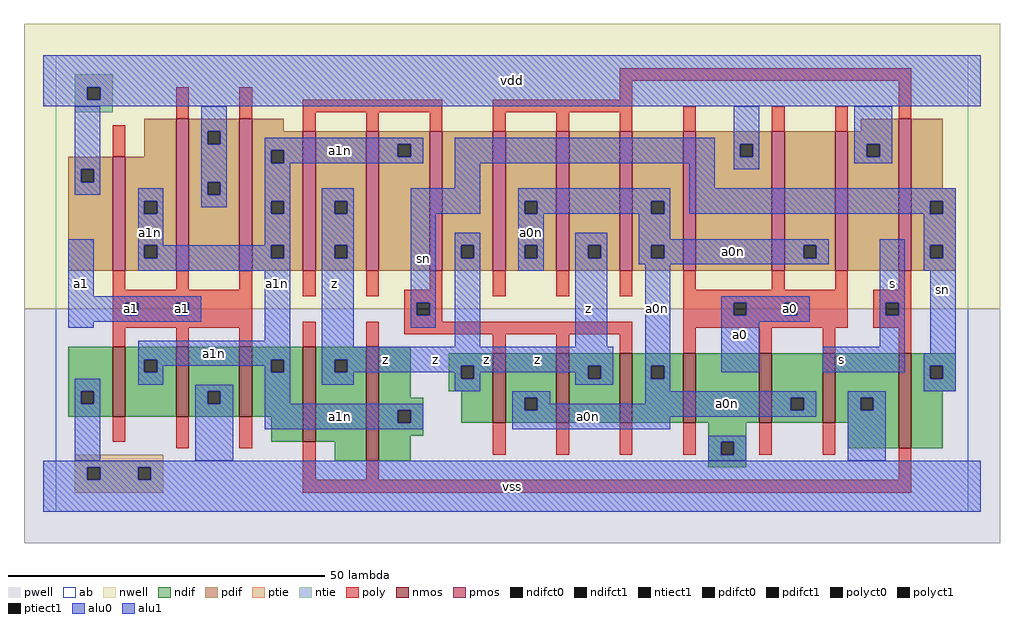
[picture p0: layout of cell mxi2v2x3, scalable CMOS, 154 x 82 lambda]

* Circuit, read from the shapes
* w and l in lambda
.subckt mxi2v2x3 a0 a0n a1 a1n s sn vdd vss z
M1 a1n a1 vss vss nfet w=11 l=2 m=3
M2 z s a1n vss nfet w=15 l=2
M3 a1n s z vss nfet w=18 l=2
M4 a0n sn z vss nfet w=11 l=2 m=3
M5 vss a0 a0n vss nfet w=11 l=2 m=3
M6 sn s vss vss nfet w=15 l=2
M7 a1n a1 vdd vdd pfet w=18 l=2
M8 vdd a1 a1n vdd pfet w=24 l=2 m=2
M9 z sn a1n vdd pfet w=22 l=2 m=3
M10 a0n s z vdd pfet w=22 l=2 m=3
M11 vdd a0 a0n vdd pfet w=22 l=2 m=3
M12 sn s vdd vdd pfet w=24 l=2
.ends

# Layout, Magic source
magic
tech scmos
<< ab >>
rect 0 0 144 72
<< nwell >>
rect -5 32 149 77
<< pwell >>
rect -5 -5 149 32
<< poly >>
rect 89 68 135 70
rect 19 62 21 67
rect 29 62 31 67
rect 89 65 91 68
rect 39 63 61 65
rect 9 56 11 61
rect 39 60 41 63
rect 49 60 51 63
rect 59 60 61 63
rect 69 63 91 65
rect 69 60 71 63
rect 79 60 81 63
rect 89 60 91 63
rect 99 60 101 64
rect 113 60 115 64
rect 123 60 125 64
rect 133 62 135 68
rect 9 35 11 38
rect 19 35 21 38
rect 29 35 31 38
rect 9 33 31 35
rect 39 34 41 38
rect 49 34 51 38
rect 59 35 61 38
rect 9 31 11 33
rect 13 31 19 33
rect 21 31 31 33
rect 9 29 31 31
rect 55 33 61 35
rect 69 34 71 38
rect 79 34 81 38
rect 89 34 91 38
rect 99 35 101 38
rect 113 35 115 38
rect 123 35 125 38
rect 133 35 135 38
rect 55 31 57 33
rect 59 31 61 33
rect 55 30 61 31
rect 99 33 125 35
rect 99 31 107 33
rect 109 31 115 33
rect 117 31 125 33
rect 9 26 11 29
rect 19 26 21 29
rect 29 26 31 29
rect 39 26 41 30
rect 49 26 51 30
rect 55 28 91 30
rect 9 11 11 15
rect 19 10 21 15
rect 29 10 31 15
rect 39 5 41 11
rect 69 25 71 28
rect 79 25 81 28
rect 89 25 91 28
rect 99 29 125 31
rect 129 33 135 35
rect 129 31 131 33
rect 133 31 135 33
rect 129 29 135 31
rect 99 25 101 29
rect 111 25 113 29
rect 121 25 123 29
rect 133 25 135 29
rect 69 9 71 14
rect 79 9 81 14
rect 89 9 91 14
rect 99 9 101 14
rect 111 9 113 14
rect 121 9 123 14
rect 49 5 51 8
rect 133 5 135 10
rect 39 3 135 5
<< ndif >>
rect 2 19 9 26
rect 2 17 4 19
rect 6 17 9 19
rect 2 15 9 17
rect 11 24 19 26
rect 11 22 14 24
rect 16 22 19 24
rect 11 15 19 22
rect 21 19 29 26
rect 21 17 24 19
rect 26 17 29 19
rect 21 15 29 17
rect 31 24 39 26
rect 31 22 34 24
rect 36 22 39 24
rect 31 15 39 22
rect 34 11 39 15
rect 41 24 49 26
rect 41 22 44 24
rect 46 22 49 24
rect 41 11 49 22
rect 44 8 49 11
rect 51 18 56 26
rect 62 23 69 25
rect 62 21 64 23
rect 66 21 69 23
rect 62 19 69 21
rect 51 16 58 18
rect 51 14 54 16
rect 56 14 58 16
rect 64 14 69 19
rect 71 18 79 25
rect 71 16 74 18
rect 76 16 79 18
rect 71 14 79 16
rect 81 23 89 25
rect 81 21 84 23
rect 86 21 89 23
rect 81 14 89 21
rect 91 23 99 25
rect 91 21 94 23
rect 96 21 99 23
rect 91 14 99 21
rect 101 14 111 25
rect 113 18 121 25
rect 113 16 116 18
rect 118 16 121 18
rect 113 14 121 16
rect 123 18 133 25
rect 123 16 127 18
rect 129 16 133 18
rect 123 14 133 16
rect 51 12 58 14
rect 51 8 56 12
rect 103 11 109 14
rect 103 9 105 11
rect 107 9 109 11
rect 125 10 133 14
rect 135 23 142 25
rect 135 21 138 23
rect 140 21 142 23
rect 135 19 142 21
rect 135 10 140 19
rect 103 7 109 9
<< pdif >>
rect 14 56 19 62
rect 2 54 9 56
rect 2 52 4 54
rect 6 52 9 54
rect 2 38 9 52
rect 11 49 19 56
rect 11 47 14 49
rect 16 47 19 49
rect 11 42 19 47
rect 11 40 14 42
rect 16 40 19 42
rect 11 38 19 40
rect 21 60 29 62
rect 21 58 24 60
rect 26 58 29 60
rect 21 52 29 58
rect 21 50 24 52
rect 26 50 29 52
rect 21 38 29 50
rect 31 60 36 62
rect 127 60 133 62
rect 31 57 39 60
rect 31 55 34 57
rect 36 55 39 57
rect 31 49 39 55
rect 31 47 34 49
rect 36 47 39 49
rect 31 42 39 47
rect 31 40 34 42
rect 36 40 39 42
rect 31 38 39 40
rect 41 49 49 60
rect 41 47 44 49
rect 46 47 49 49
rect 41 42 49 47
rect 41 40 44 42
rect 46 40 49 42
rect 41 38 49 40
rect 51 58 59 60
rect 51 56 54 58
rect 56 56 59 58
rect 51 38 59 56
rect 61 42 69 60
rect 61 40 64 42
rect 66 40 69 42
rect 61 38 69 40
rect 71 49 79 60
rect 71 47 74 49
rect 76 47 79 49
rect 71 42 79 47
rect 71 40 74 42
rect 76 40 79 42
rect 71 38 79 40
rect 81 42 89 60
rect 81 40 84 42
rect 86 40 89 42
rect 81 38 89 40
rect 91 49 99 60
rect 91 47 94 49
rect 96 47 99 49
rect 91 42 99 47
rect 91 40 94 42
rect 96 40 99 42
rect 91 38 99 40
rect 101 58 113 60
rect 101 56 108 58
rect 110 56 113 58
rect 101 38 113 56
rect 115 42 123 60
rect 115 40 118 42
rect 120 40 123 42
rect 115 38 123 40
rect 125 58 133 60
rect 125 56 128 58
rect 130 56 133 58
rect 125 38 133 56
rect 135 51 140 62
rect 135 49 142 51
rect 135 47 138 49
rect 140 47 142 49
rect 135 42 142 47
rect 135 40 138 42
rect 140 40 142 42
rect 135 38 142 40
<< alu1 >>
rect -2 67 146 72
rect -2 65 5 67
rect 7 65 146 67
rect -2 64 146 65
rect 2 34 6 43
rect 2 33 23 34
rect 2 31 11 33
rect 13 31 19 33
rect 21 31 23 33
rect 2 30 23 31
rect 2 29 6 30
rect 42 49 47 51
rect 42 47 44 49
rect 46 47 47 49
rect 42 42 47 47
rect 42 40 44 42
rect 46 40 47 42
rect 42 26 47 40
rect 63 42 67 44
rect 63 40 64 42
rect 66 40 67 42
rect 63 26 67 40
rect 82 42 87 44
rect 82 40 84 42
rect 86 40 87 42
rect 82 26 87 40
rect 42 24 88 26
rect 42 22 44 24
rect 46 23 88 24
rect 46 22 64 23
rect 42 20 47 22
rect 63 21 64 22
rect 66 22 84 23
rect 66 21 67 22
rect 63 19 67 21
rect 82 21 84 22
rect 86 21 88 23
rect 82 20 88 21
rect 105 33 119 34
rect 105 31 107 33
rect 109 31 115 33
rect 117 31 119 33
rect 105 30 119 31
rect 130 33 134 43
rect 130 31 131 33
rect 133 31 134 33
rect 105 22 111 30
rect 130 26 134 31
rect 121 22 134 26
rect -2 7 146 8
rect -2 5 5 7
rect 7 5 13 7
rect 15 5 146 7
rect -2 0 146 5
<< ptie >>
rect 3 7 17 9
rect 3 5 5 7
rect 7 5 13 7
rect 15 5 17 7
rect 3 3 17 5
<< ntie >>
rect 3 67 9 69
rect 3 65 5 67
rect 7 65 9 67
rect 3 63 9 65
<< nmos >>
rect 9 15 11 26
rect 19 15 21 26
rect 29 15 31 26
rect 39 11 41 26
rect 49 8 51 26
rect 69 14 71 25
rect 79 14 81 25
rect 89 14 91 25
rect 99 14 101 25
rect 111 14 113 25
rect 121 14 123 25
rect 133 10 135 25
<< pmos >>
rect 9 38 11 56
rect 19 38 21 62
rect 29 38 31 62
rect 39 38 41 60
rect 49 38 51 60
rect 59 38 61 60
rect 69 38 71 60
rect 79 38 81 60
rect 89 38 91 60
rect 99 38 101 60
rect 113 38 115 60
rect 123 38 125 60
rect 133 38 135 62
<< polyct0 >>
rect 57 31 59 33
<< polyct1 >>
rect 11 31 13 33
rect 19 31 21 33
rect 107 31 109 33
rect 115 31 117 33
rect 131 31 133 33
<< ndifct0 >>
rect 4 17 6 19
rect 14 22 16 24
rect 24 17 26 19
rect 34 22 36 24
rect 54 14 56 16
rect 74 16 76 18
rect 94 21 96 23
rect 116 16 118 18
rect 127 16 129 18
rect 105 9 107 11
rect 138 21 140 23
<< ndifct1 >>
rect 44 22 46 24
rect 64 21 66 23
rect 84 21 86 23
<< ntiect1 >>
rect 5 65 7 67
<< ptiect1 >>
rect 5 5 7 7
rect 13 5 15 7
<< pdifct0 >>
rect 4 52 6 54
rect 14 47 16 49
rect 14 40 16 42
rect 24 58 26 60
rect 24 50 26 52
rect 34 55 36 57
rect 34 47 36 49
rect 34 40 36 42
rect 54 56 56 58
rect 74 47 76 49
rect 74 40 76 42
rect 94 47 96 49
rect 94 40 96 42
rect 108 56 110 58
rect 118 40 120 42
rect 128 56 130 58
rect 138 47 140 49
rect 138 40 140 42
<< pdifct1 >>
rect 44 47 46 49
rect 44 40 46 42
rect 64 40 66 42
rect 84 40 86 42
<< alu0 >>
rect 3 54 7 64
rect 3 52 4 54
rect 6 52 7 54
rect 3 50 7 52
rect 23 60 27 64
rect 23 58 24 60
rect 26 58 27 60
rect 23 52 27 58
rect 13 49 17 51
rect 13 47 14 49
rect 16 47 17 49
rect 23 50 24 52
rect 26 50 27 52
rect 23 48 27 50
rect 33 58 58 59
rect 33 57 54 58
rect 33 55 34 57
rect 36 56 54 57
rect 56 56 58 58
rect 36 55 58 56
rect 63 55 104 59
rect 33 49 37 55
rect 63 51 67 55
rect 100 51 104 55
rect 107 58 111 64
rect 107 56 108 58
rect 110 56 111 58
rect 107 54 111 56
rect 126 58 132 64
rect 126 56 128 58
rect 130 56 132 58
rect 126 55 132 56
rect 13 42 17 47
rect 33 47 34 49
rect 36 47 37 49
rect 33 42 37 47
rect 13 40 14 42
rect 16 40 34 42
rect 36 40 37 42
rect 13 38 37 40
rect 33 27 37 38
rect 13 24 37 27
rect 13 22 14 24
rect 16 23 34 24
rect 16 22 17 23
rect 3 19 7 21
rect 13 20 17 22
rect 33 22 34 23
rect 36 22 37 24
rect 3 17 4 19
rect 6 17 7 19
rect 3 8 7 17
rect 22 19 28 20
rect 22 17 24 19
rect 26 17 28 19
rect 22 8 28 17
rect 33 17 37 22
rect 56 47 67 51
rect 73 49 97 51
rect 73 47 74 49
rect 76 47 94 49
rect 96 47 97 49
rect 100 49 142 51
rect 100 47 138 49
rect 140 47 142 49
rect 56 33 60 47
rect 56 31 57 33
rect 59 31 60 33
rect 56 29 60 31
rect 73 42 77 47
rect 73 40 74 42
rect 76 40 77 42
rect 73 38 77 40
rect 92 43 97 47
rect 92 42 122 43
rect 92 40 94 42
rect 96 40 118 42
rect 120 40 122 42
rect 92 39 122 40
rect 93 23 97 39
rect 93 21 94 23
rect 96 21 97 23
rect 137 42 142 47
rect 137 40 138 42
rect 140 40 142 42
rect 137 38 142 40
rect 138 25 142 38
rect 137 23 142 25
rect 93 19 97 21
rect 137 21 138 23
rect 140 21 142 23
rect 137 19 142 21
rect 72 18 78 19
rect 33 16 58 17
rect 33 14 54 16
rect 56 14 58 16
rect 33 13 58 14
rect 72 16 74 18
rect 76 17 78 18
rect 93 18 120 19
rect 93 17 116 18
rect 76 16 116 17
rect 118 16 120 18
rect 72 15 120 16
rect 125 18 131 19
rect 125 16 127 18
rect 129 16 131 18
rect 72 13 97 15
rect 103 11 109 12
rect 103 9 105 11
rect 107 9 109 11
rect 103 8 109 9
rect 125 8 131 16
<< labels >>
rlabel alu0 15 44 15 44 6 a1n
rlabel alu0 45 15 45 15 6 a1n
rlabel alu0 25 25 25 25 6 a1n
rlabel alu0 58 40 58 40 6 sn
rlabel alu0 45 57 45 57 6 a1n
rlabel alu0 35 36 35 36 6 a1n
rlabel alu0 84 15 84 15 6 a0n
rlabel alu0 75 44 75 44 6 a0n
rlabel alu0 95 32 95 32 6 a0n
rlabel alu0 106 17 106 17 6 a0n
rlabel alu0 140 35 140 35 6 sn
rlabel alu0 107 41 107 41 6 a0n
rlabel polyct1 12 32 12 32 6 a1
rlabel polyct1 20 32 20 32 6 a1
rlabel alu1 4 36 4 36 6 a1
rlabel alu1 52 24 52 24 6 z
rlabel alu1 60 24 60 24 6 z
rlabel alu1 68 24 68 24 6 z
rlabel alu1 44 36 44 36 6 z
rlabel alu1 72 4 72 4 6 vss
rlabel alu1 76 24 76 24 6 z
rlabel alu1 84 32 84 32 6 z
rlabel alu1 72 68 72 68 6 vdd
rlabel alu1 108 28 108 28 6 a0
rlabel alu1 124 24 124 24 6 s
rlabel polyct1 116 32 116 32 6 a0
rlabel alu1 132 36 132 36 6 s
<< end >>
